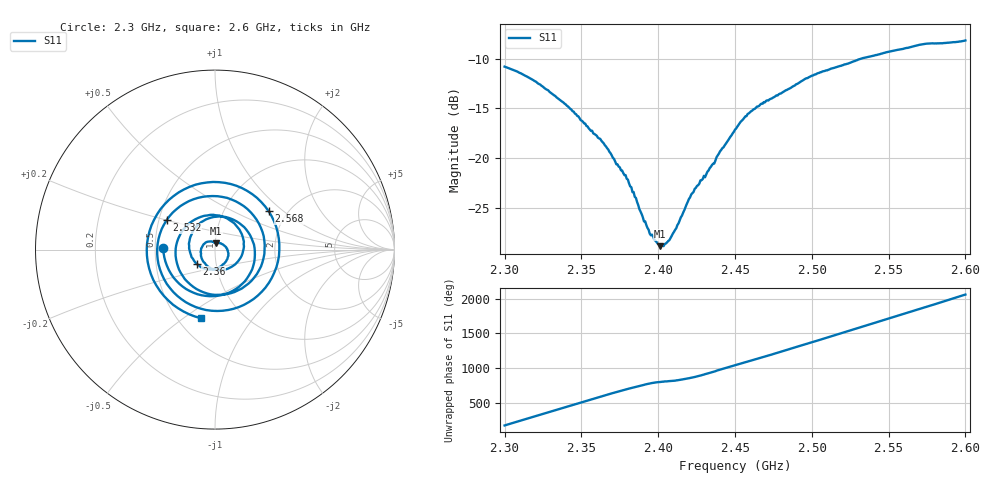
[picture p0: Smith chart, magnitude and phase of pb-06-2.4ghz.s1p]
! NanoVNA-App
! Date: 2026-05-22 17:26:15
! Start: 2.3GHz Stop: 2.6GHz Points: 401
! S-Parameter data: F S11
# Hz S RI R 50
!  Frequency  S11_Real  S11_Imag
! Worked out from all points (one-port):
!   401 points, 2.3 GHz to 2.6 GHz, reference 50 ohm
!   lowest |S11| = -28.8 dB at 2.401 GHz (marker M1), VSWR 1.08, Z = 50.3 + j3.61 ohm
!   |S11| at or under -10 dB: start of sweep to 2.532 GHz
!   S11 on the Smith chart (normalised r, x): 2.3 GHz: 0.55, +0.01; 2.36 GHz: 0.80, -0.13; 2.532 GHz: 0.55, +0.20; 2.568 GHz: 1.61, +0.80; 2.6 GHz: 0.65, -0.59
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2.3e9  -0.2883 0.00853
2.31425e9  0.0145 -0.2575
2.3255e9  0.2211 -0.0491
2.3375e9  0.0738 0.1776
2.3495e9  -0.1302 0.0851
2.36e9  -0.1027 -0.0793
2.375e9  0.0615 -0.0657
2.40125e9  0.00472 0.0359
2.4125e9  -0.0135 0.0442
2.4335e9  -0.0742 -0.0493
2.45e9  0.1118 -0.0828
2.45975e9  0.1542 0.0718
2.471e9  -0.0267 0.1935
2.4875e9  -0.2003 -0.1113
2.498e9  0.0421 -0.2515
2.50925e9  0.2751 -0.0239
2.516e9  0.2161 0.1881
2.525e9  -0.0663 0.2943
2.53175e9  -0.27 0.1634
2.54e9  -0.2961 -0.1382
2.549e9  -0.0188 -0.3407
2.555e9  0.2141 -0.2761
2.5625e9  0.3584 -0.00107
2.56775e9  0.2989 0.2138
2.57675e9  -0.0438 0.3741
2.5865e9  -0.3646 0.1035
2.5925e9  -0.3438 -0.1689
2.6e9  -0.0758 -0.383
